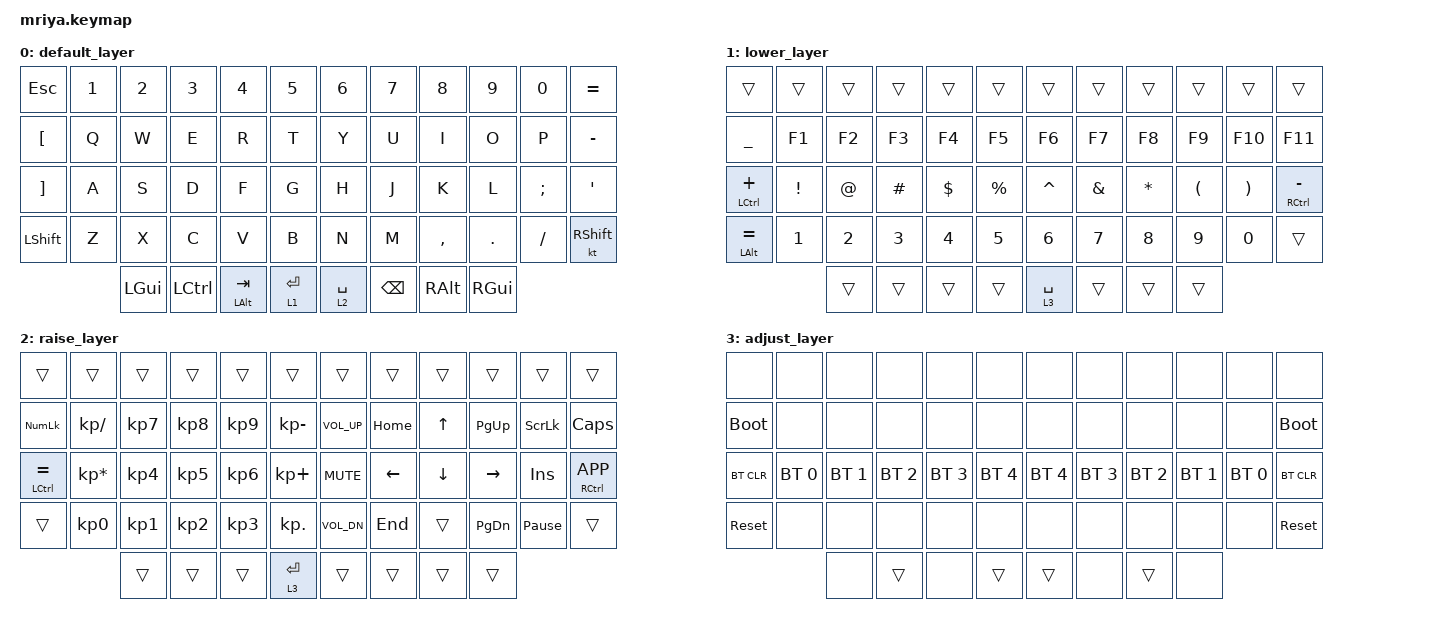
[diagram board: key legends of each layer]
#include <behaviors.dtsi>
#include <dt-bindings/zmk/bt.h>
#include <dt-bindings/zmk/keys.h>
#include <dt-bindings/zmk/keys.h>

/ {
    keymap {
        compatible = "zmk,keymap";

        default_layer {
            bindings = <
  &kp ESCAPE         &kp N1  &kp N2    &kp N3     &kp N4            &kp N5       &kp N6       &kp N7         &kp N8     &kp N9    &kp N0    &kp EQUAL
  &kp LEFT_BRACKET   &kp Q   &kp W     &kp E      &kp R             &kp T        &kp Y        &kp U          &kp I      &kp O     &kp P     &kp MINUS
  &kp RIGHT_BRACKET  &kp A   &kp S     &kp D      &kp F             &kp G        &kp H        &kp J          &kp K      &kp L     &kp SEMI  &kp SQT
  &kp LEFT_SHIFT     &kp Z   &kp X     &kp C      &kp V             &kp B        &kp N        &kp M          &kp COMMA  &kp DOT   &kp FSLH  &kt RSHIFT
                             &kp LGUI  &kp LCTRL  &mt LEFT_ALT TAB  &lt 1 RET    &lt 2 SPACE  &kp BACKSPACE  &kp RALT   &kp RGUI
            >;
        };

        lower_layer {
            bindings = <
  &trans          &trans    &trans  &trans    &trans    &trans       &trans       &trans    &trans    &trans    &trans    &trans
  &kp UNDER       &kp F1    &kp F2  &kp F3    &kp F4    &kp F5       &kp F6       &kp F7    &kp F8    &kp F9    &kp F10   &kp F11
  &mt LCTRL PLUS  &kp EXCL  &kp AT  &kp HASH  &kp DLLR  &kp PRCNT    &kp CARET    &kp AMPS  &kp STAR  &kp LPAR  &kp RPAR  &mt RCTRL MINUS
  &mt LALT EQUAL  &kp N1    &kp N2  &kp N3    &kp N4    &kp N5       &kp N6       &kp N7    &kp N8    &kp N9    &kp N0    &trans
                            &trans  &trans    &trans    &trans       &lt 3 SPACE  &trans    &trans    &trans
            >;
        };

        raise_layer {
            bindings = <
  &trans           &trans           &trans     &trans     &trans     &trans          &trans        &trans          &trans          &trans           &trans           &trans
  &kp KP_NUM       &kp KP_SLASH     &kp KP_N7  &kp KP_N8  &kp KP_N9  &kp KP_MINUS    &kp C_VOL_UP  &kp HOME        &kp UP_ARROW    &kp PG_UP        &kp SLCK         &kp CAPS
  &mt LCTRL EQUAL  &kp KP_MULTIPLY  &kp KP_N4  &kp KP_N5  &kp KP_N6  &kp KP_PLUS     &kp C_MUTE    &kp LEFT_ARROW  &kp DOWN_ARROW  &kp RIGHT_ARROW  &kp INS          &mt RCTRL K_APP
  &trans           &kp KP_N0        &kp KP_N1  &kp KP_N2  &kp KP_N3  &kp KP_DOT      &kp C_VOL_DN  &kp END         &trans          &kp PG_DN        &kp PAUSE_BREAK  &trans
                                    &trans     &trans     &trans     &lt 3 RET       &trans        &trans          &trans          &trans
            >;
        };

        adjust_layer {
            bindings = <
  &none        &none         &none         &none         &none         &none           &none         &none         &none         &none         &none         &none
  &bootloader  &none         &none         &none         &none         &none           &none         &none         &none         &none         &none         &bootloader
  &bt BT_CLR   &bt BT_SEL 0  &bt BT_SEL 1  &bt BT_SEL 2  &bt BT_SEL 3  &bt BT_SEL 4    &bt BT_SEL 4  &bt BT_SEL 3  &bt BT_SEL 2  &bt BT_SEL 1  &bt BT_SEL 0  &bt BT_CLR
  &sys_reset   &none         &none         &none         &none         &none           &none         &none         &none         &none         &none         &sys_reset
                             &none         &trans        &none         &trans          &trans        &none         &trans        &none
            >;
        };
    };
};
